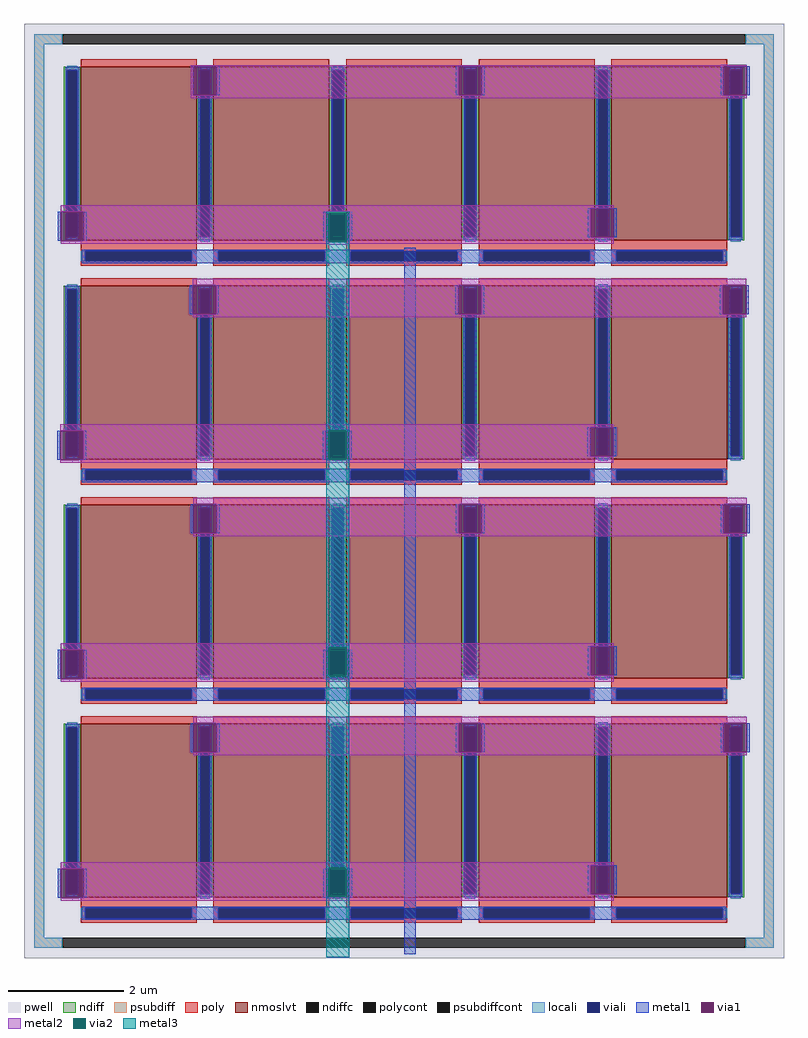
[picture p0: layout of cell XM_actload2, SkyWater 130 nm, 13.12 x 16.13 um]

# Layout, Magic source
magic
tech sky130A
magscale 1 2
<< metal1 >>
rect 522 2926 532 3026
rect 612 2926 622 3026
rect 1438 2926 1448 3026
rect 1528 2926 1538 3026
rect 2352 2926 2362 3026
rect 2442 2926 2452 3026
rect 1465 2916 1471 2926
rect 1505 2916 1511 2926
rect 2379 2916 2385 2926
rect 2419 2916 2425 2926
rect 1921 2536 1927 2546
rect 1961 2536 1967 2546
rect 1007 2524 1013 2534
rect 1047 2524 1053 2534
rect 64 2424 74 2524
rect 154 2424 164 2524
rect 980 2424 990 2524
rect 1070 2424 1080 2524
rect 1894 2436 1904 2536
rect 1984 2436 1994 2536
rect 527 2347 617 2393
rect 985 2347 1075 2393
rect 89 2257 135 2269
rect 89 1768 95 2257
rect 129 1768 135 2257
rect 520 2170 530 2270
rect 610 2170 620 2270
rect 1005 2257 1051 2269
rect 62 1668 72 1768
rect 152 1668 162 1768
rect 547 1681 553 2170
rect 587 1681 593 2170
rect 1005 1768 1011 2257
rect 1045 1768 1051 2257
rect 547 1669 593 1681
rect 978 1668 988 1768
rect 1068 1668 1078 1768
rect 527 1591 617 1637
rect 985 1591 1075 1637
rect 91 1501 137 1513
rect 91 1012 97 1501
rect 131 1012 137 1501
rect 522 1414 532 1514
rect 612 1414 622 1514
rect 1007 1501 1053 1513
rect 64 912 74 1012
rect 154 912 164 1012
rect 549 925 555 1414
rect 589 925 595 1414
rect 1007 1012 1013 1501
rect 1047 1012 1053 1501
rect 549 913 595 925
rect 980 912 990 1012
rect 1070 912 1080 1012
rect 527 835 617 881
rect 985 835 1075 881
rect 91 745 137 757
rect 91 256 97 745
rect 131 256 137 745
rect 522 658 532 758
rect 612 658 622 758
rect 1007 745 1053 757
rect 64 156 74 256
rect 154 156 164 256
rect 549 169 555 658
rect 589 169 595 658
rect 1007 256 1013 745
rect 1047 256 1053 745
rect 549 157 595 169
rect 980 156 990 256
rect 1070 156 1080 256
rect 527 79 617 125
rect 985 79 1075 125
rect 1260 -40 1300 2400
rect 1443 2347 1533 2393
rect 1901 2347 1991 2393
rect 1436 2170 1446 2270
rect 1526 2170 1536 2270
rect 1921 2257 1967 2269
rect 1463 1681 1469 2170
rect 1503 1681 1509 2170
rect 1921 1790 1927 2257
rect 1961 1790 1967 2257
rect 2350 2170 2360 2270
rect 2440 2170 2450 2270
rect 2377 2160 2385 2170
rect 2417 2160 2425 2170
rect 1919 1780 1927 1790
rect 1959 1780 1967 1790
rect 1463 1669 1509 1681
rect 1892 1680 1902 1780
rect 1982 1680 1992 1780
rect 2379 1681 2385 2160
rect 2419 1681 2425 2160
rect 1921 1669 1967 1680
rect 2379 1669 2425 1681
rect 1443 1591 1533 1637
rect 1901 1591 1991 1637
rect 1438 1414 1448 1514
rect 1528 1414 1538 1514
rect 1923 1501 1969 1513
rect 1465 925 1471 1414
rect 1505 925 1511 1414
rect 1923 1034 1929 1501
rect 1963 1034 1969 1501
rect 2352 1414 2362 1514
rect 2442 1414 2452 1514
rect 2379 1404 2387 1414
rect 2419 1404 2427 1414
rect 1921 1024 1929 1034
rect 1961 1024 1969 1034
rect 1465 913 1511 925
rect 1894 924 1904 1024
rect 1984 924 1994 1024
rect 2381 925 2387 1404
rect 2421 925 2427 1404
rect 1923 913 1969 924
rect 2381 913 2427 925
rect 1443 835 1533 881
rect 1901 835 1991 881
rect 1438 658 1448 758
rect 1528 658 1538 758
rect 1923 745 1969 757
rect 1465 169 1471 658
rect 1505 169 1511 658
rect 1923 278 1929 745
rect 1963 278 1969 745
rect 2352 658 2362 758
rect 2442 658 2452 758
rect 2379 648 2387 658
rect 2419 648 2427 658
rect 1921 268 1929 278
rect 1961 268 1969 278
rect 1465 157 1511 169
rect 1894 168 1904 268
rect 1984 168 1994 268
rect 2381 169 2387 648
rect 2421 169 2427 648
rect 1923 157 1969 168
rect 2381 157 2427 169
rect 1443 79 1533 125
rect 1901 79 1991 125
<< via1 >>
rect 532 2926 612 3026
rect 1448 2926 1528 3026
rect 2362 2926 2442 3026
rect 74 2424 154 2524
rect 990 2424 1070 2524
rect 1904 2436 1984 2536
rect 530 2170 610 2270
rect 72 1668 152 1768
rect 988 1668 1068 1768
rect 532 1414 612 1514
rect 74 912 154 1012
rect 990 912 1070 1012
rect 532 658 612 758
rect 74 156 154 256
rect 990 156 1070 256
rect 1446 2170 1526 2270
rect 2360 2170 2440 2270
rect 1902 1680 1982 1780
rect 1448 1414 1528 1514
rect 2362 1414 2442 1514
rect 1904 924 1984 1024
rect 1448 658 1528 758
rect 2362 658 2442 758
rect 1904 168 1984 268
<< metal2 >>
rect 2352 3030 2442 3032
rect 522 3026 2442 3030
rect 522 2926 532 3026
rect 612 2926 1448 3026
rect 1528 2926 2362 3026
rect 522 2916 2442 2926
rect 74 2536 1984 2546
rect 74 2524 1904 2536
rect 154 2424 990 2524
rect 1070 2436 1904 2524
rect 1070 2424 1984 2436
rect 74 2420 1000 2424
rect 1060 2420 1984 2424
rect 74 2414 1984 2420
rect 1000 2410 1060 2414
rect 530 2270 2440 2292
rect 610 2170 1446 2270
rect 1526 2170 2360 2270
rect 530 2160 2440 2170
rect 72 1780 1982 1790
rect 72 1770 1902 1780
rect 72 1768 1000 1770
rect 1060 1768 1902 1770
rect 152 1668 988 1768
rect 1068 1680 1902 1768
rect 1068 1668 1982 1680
rect 72 1658 1982 1668
rect 532 1514 2442 1536
rect 612 1414 1448 1514
rect 1528 1414 2362 1514
rect 532 1404 2442 1414
rect 74 1024 1984 1034
rect 74 1020 1904 1024
rect 74 1012 1000 1020
rect 1060 1012 1904 1020
rect 154 912 990 1012
rect 1070 924 1904 1012
rect 1070 912 1984 924
rect 74 902 1984 912
rect 532 758 2442 780
rect 612 658 1448 758
rect 1528 658 2362 758
rect 532 648 2442 658
rect 74 268 1984 278
rect 74 260 1904 268
rect 74 256 1000 260
rect 1060 256 1904 260
rect 154 156 990 256
rect 1070 168 1904 256
rect 1070 156 1984 168
rect 74 146 1984 156
<< via2 >>
rect 1000 2424 1060 2520
rect 1000 2420 1060 2424
rect 1000 1768 1060 1770
rect 1000 1670 1060 1768
rect 1000 1012 1060 1020
rect 1000 920 1060 1012
rect 1000 256 1060 260
rect 1000 160 1060 256
<< metal3 >>
rect 990 2520 1070 2525
rect 990 2420 1000 2520
rect 1060 2420 1070 2520
rect 990 1770 1070 2420
rect 990 1670 1000 1770
rect 1060 1670 1070 1770
rect 990 1020 1070 1670
rect 990 920 1000 1020
rect 1060 920 1070 1020
rect 990 260 1070 920
rect 990 160 1000 260
rect 1060 160 1070 260
rect 990 -50 1070 160
use sky130_fd_pr__nfet_01v8_lvt_USQY94  sky130_fd_pr__nfet_01v8_lvt_USQY94_0
transform 1 0 1259 0 1 1560
box -1312 -1613 1312 1613
<< end >>

# cell sky130_fd_pr__nfet_01v8_lvt_USQY94: kit device sky130_fd_pr__nfet_01v8_lvt, w 3 l 2 m 4 nf 5 diffcov 100 polycov 100 guard 1 glc 0 grc 0 gtc 1 gbc 1 tbcov 100 rlcov 100 topc 0 botc 1 poverlap 0 doverlap 1 lmin 0.15 wmin 0.42 compatible {sky130_fd_pr__nfet_01v8 sky130_fd_pr__nfet_01v8_lvt sky130_fd_bs_flash__special_sonosfet_star sky130_fd_pr__nfet_g5v0d10v5 sky130_fd_pr__nfet_05v0_nvt sky130_fd_pr__nfet_03v3_nvt} full_metal 1 viasrc 100 viadrn 100 viagate 100 viagb 0 viagr 0 viagl 0 viagt 0
